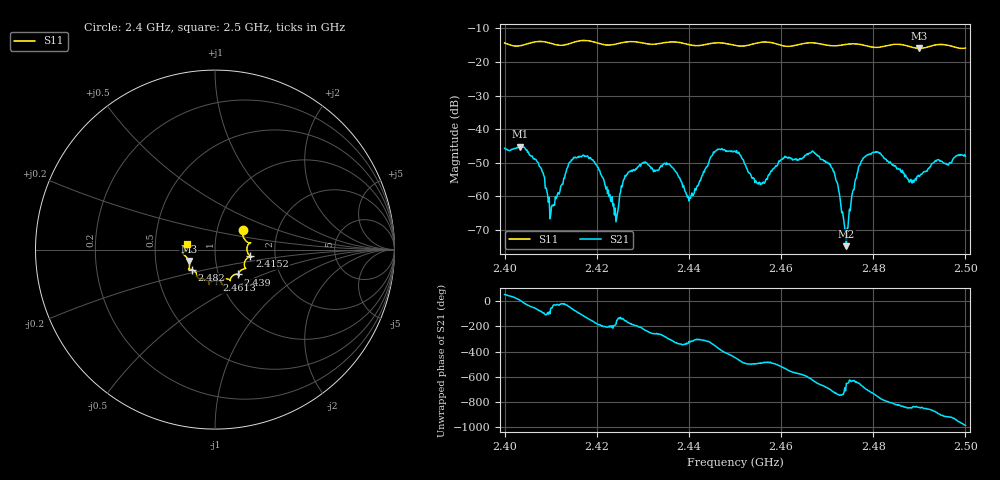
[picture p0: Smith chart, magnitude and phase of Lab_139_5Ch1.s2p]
# Hz S RI R 50
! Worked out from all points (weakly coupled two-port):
!   601 points, 2.4 GHz to 2.5 GHz, reference 50 ohm
!   highest |S21| = -45.23 dB at 2.4033 GHz (marker M1); lowest = -74.9 dB at 2.4742 GHz (marker M2)
!   lowest |S11| = -15.9 dB at 2.49 GHz (marker M3), VSWR 1.38, Z = 37 - j4.8 ohm
!   |S11| at or under -10 dB: start of sweep to end of sweep
!   S12 and S22 are empty: the file has one direction only
!   S11 on the Smith chart (normalised r, x): 2.4 GHz: 1.33, +0.31; 2.4152 GHz: 1.48, -0.11; 2.439 GHz: 1.24, -0.36; 2.4613 GHz: 0.96, -0.34; 2.482 GHz: 0.76, -0.17; 2.5 GHz: 0.73, +0.05
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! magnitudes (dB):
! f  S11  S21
! 2.4 GHz  -14.4  -45.7
! 2.4033 GHz  -15.2  -45.2
! 2.4075 GHz  -13.9  -51.0
! 2.4103 GHz  -14.5  -62.6
! 2.4152 GHz  -14.1  -48.5
! 2.4167 GHz  -13.6  -48.3
! 2.4198 GHz  -14.2  -50.6
! 2.4242 GHz  -14.6  -67.6
! 2.4267 GHz  -14.0  -53.4
! 2.4333 GHz  -14.5  -52.2
! 2.439 GHz  -14.5  -57.7
! 2.45 GHz  -15.0  -46.6
! 2.4553 GHz  -14.2  -55.8
! 2.4613 GHz  -15.3  -48.5
! 2.4667 GHz  -14.3  -46.7
! 2.4712 GHz  -15.2  -51.8
! 2.4742 GHz  -14.7  -74.9
! 2.4773 GHz  -14.8  -49.8
! 2.482 GHz  -15.4  -48.0
! 2.4833 GHz  -15.0  -49.8
! 2.49 GHz  -15.9  -54.1
! 2.5 GHz  -15.8  -48.1
